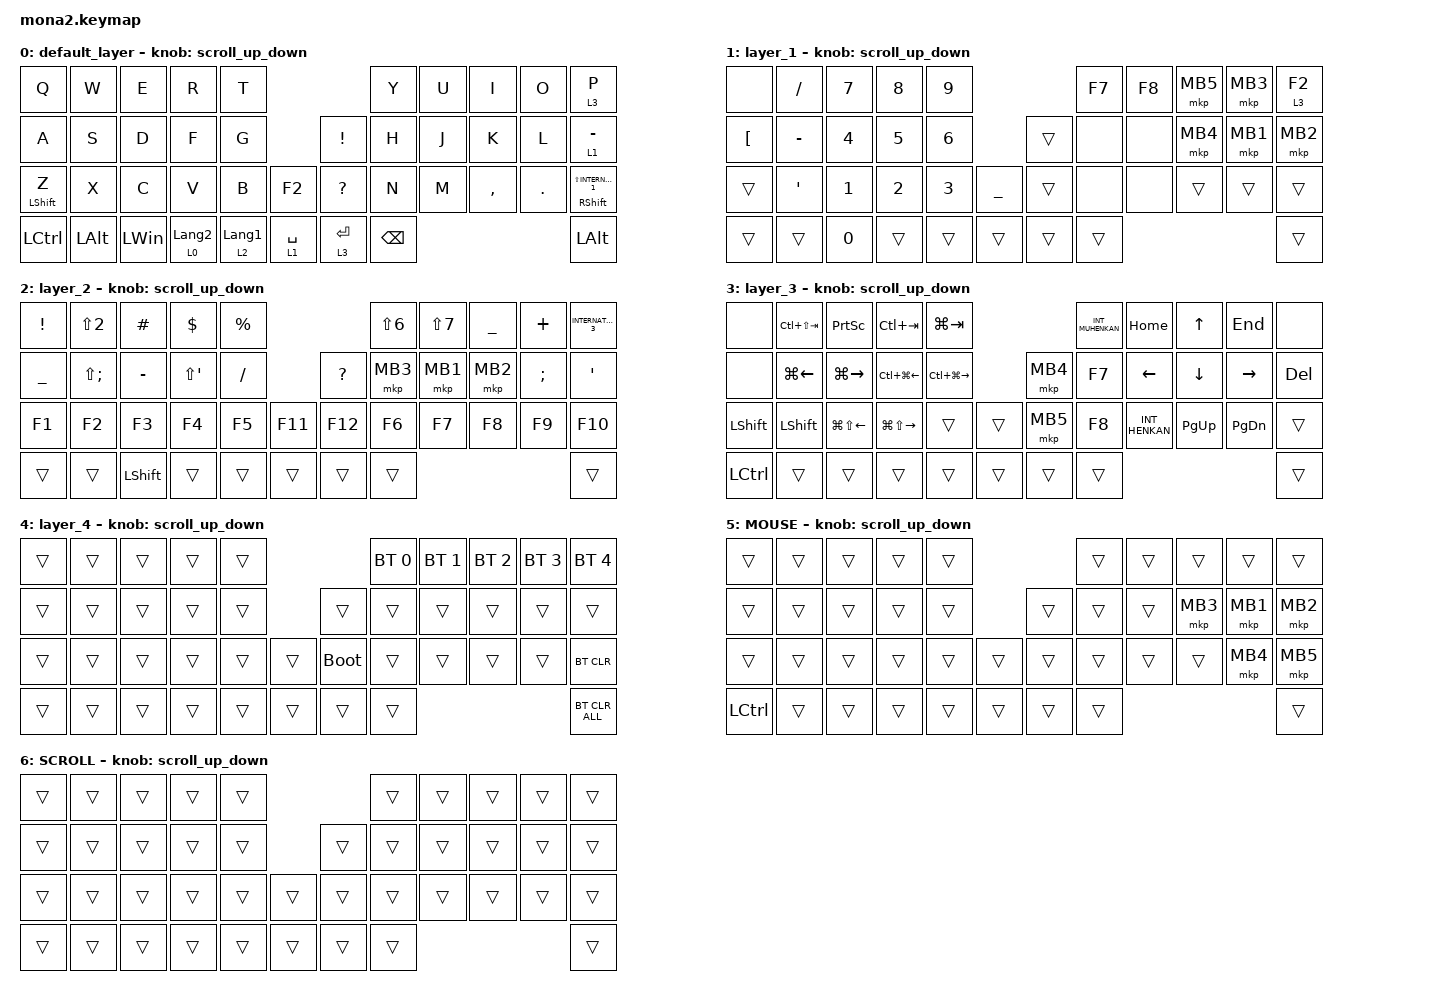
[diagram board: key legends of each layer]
#include <input/processors.dtsi>
#include <dt-bindings/zmk/input_transform.h>
#include <zephyr/dt-bindings/input/input-event-codes.h>
#include <behaviors.dtsi>
#include <dt-bindings/zmk/bt.h>
#include <dt-bindings/zmk/keys.h>
#include <dt-bindings/zmk/pointing.h>

#define ZMK_POINTING_DEFAULT_SCRL_VAL 100
#define MOUSE 5
#define SCROLL 6

&mt {
    flavor = "balanced";
    quick-tap-ms = <0>;
};

&lt {
    quick-tap-ms = <300>;
    flavor = "balanced";
};

/ {
    combos {
        compatible = "zmk,combos";

        layer4_ESC {
            bindings = <&lt 4 ESC>;
            key-positions = <37 40>;
        };

        tab {
            bindings = <&kp TAB>;
            key-positions = <11 12>;
        };

        left_parenthesis {
            bindings = <&kp LS(NUMBER_8)>;
            key-positions = <12 13>;
        };

        right_parenthesis {
            bindings = <&kp LS(NUMBER_9)>;
            key-positions = <17 18>;
        };

        left_bracket {
            bindings = <&kp RIGHT_BRACKET>;
            key-positions = <23 24>;
        };

        right_bracket {
            bindings = <&kp BACKSLASH>;
            key-positions = <29 30>;
        };
    };

    macros {
        to_layer_0: to_layer_0 {
            compatible = "zmk,behavior-macro-one-param";
            #binding-cells = <1>;
            bindings = <&to 0 &macro_param_1to1 &kp MACRO_PLACEHOLDER>;
            label = "TO_LAYER_0";
        };
    };

    behaviors {
        lt_to_layer_0: lt_to_layer_0 {
            compatible = "zmk,behavior-hold-tap";
            label = "LAYER_TAP_TO_0";
            bindings = <&mo>, <&to_layer_0>;

            #binding-cells = <2>;
            tapping-term-ms = <200>;
        };

        scroll_up_down: mouse_wheel_up_down {
            compatible = "zmk,behavior-sensor-rotate";
            #sensor-binding-cells = <0>;
            bindings = <&msc SCRL_DOWN>, <&msc SCRL_UP>;

            tap-ms = <20>;
        };

        scroll_right_left: mouse_wheel_right_left {
            compatible = "zmk,behavior-sensor-rotate";
            #sensor-binding-cells = <0>;
            bindings = <&msc SCRL_LEFT>, <&msc SCRL_RIGHT>;

            tap-ms = <20>;
        };
    };

    keymap {
        compatible = "zmk,keymap";

        default_layer {
            bindings = <
&kp Q             &kp W         &kp E         &kp R                        &kp T                                                        &kp Y          &kp U  &kp I      &kp O    &lt 3 P
&kp A             &kp S         &kp D         &kp F                        &kp G                                       &kp EXCLAMATION  &kp H          &kp J  &kp K      &kp L    &lt 1 MINUS
&mt LEFT_SHIFT Z  &kp X         &kp C         &kp V                        &kp B                        &kp F2         &kp QUESTION     &kp N          &kp M  &kp COMMA  &kp DOT  &mt RIGHT_SHIFT LS(INTERNATIONAL_1)
&kp LCTRL         &kp LEFT_ALT  &kp LEFT_WIN  &lt_to_layer_0 0 LANGUAGE_2  &lt_to_layer_0 2 LANGUAGE_1  &lt 1 SPACE    &lt 3 ENTER      &kp BACKSPACE                             &kp LEFT_ALT
            >;

            sensor-bindings = <&scroll_up_down>;
        };

        layer_1 {
            bindings = <
&none             &kp SLASH  &kp NUMBER_7  &kp NUMBER_8  &kp NUMBER_9                            &kp F7  &kp F8  &mkp MB5  &mkp MB3  &lt 3 F2
&kp LEFT_BRACKET  &kp MINUS  &kp NUMBER_4  &kp NUMBER_5  &kp NUMBER_6                    &trans  &none   &none   &mkp MB4  &mkp MB1  &mkp MB2
&trans            &kp SQT    &kp NUMBER_1  &kp NUMBER_2  &kp NUMBER_3  &kp UNDERSCORE    &trans  &none   &none   &trans    &trans    &trans
&trans            &trans     &kp NUMBER_0  &trans        &trans        &trans            &trans  &trans                              &trans
            >;

            sensor-bindings = <&scroll_up_down>;
        };

        layer_2 {
            bindings = <
&kp EXCLAMATION  &kp LS(N2)         &kp POUND       &kp DOLLAR   &kp PERCENT                        &kp LS(N6)  &kp LS(N7)  &kp UNDERSCORE  &kp PLUS       &kp INTERNATIONAL_3
&kp UNDERSCORE   &kp LS(SEMICOLON)  &kp MINUS       &kp LS(SQT)  &kp SLASH               &kp QMARK  &mkp MB3    &mkp MB1    &mkp MB2        &kp SEMICOLON  &kp SQT
&kp F1           &kp F2             &kp F3          &kp F4       &kp F5       &kp F11    &kp F12    &kp F6      &kp F7      &kp F8          &kp F9         &kp F10
&trans           &trans             &kp LEFT_SHIFT  &trans       &trans       &trans     &trans     &trans                                                 &trans
            >;

            sensor-bindings = <&scroll_up_down>;
        };

        layer_3 {
            bindings = <
&none           &kp LC(LS(TAB))     &kp PRINTSCREEN         &kp LC(TAB)              &kp LG(TAB)                                  &kp INT_MUHENKAN  &kp HOME        &kp UP_ARROW    &kp END          &none
&none           &kp LG(LEFT_ARROW)  &kp LG(RIGHT_ARROW)     &kp LC(LG(LEFT_ARROW))   &kp LC(LG(RIGHT_ARROW))            &mkp MB4  &kp F7            &kp LEFT_ARROW  &kp DOWN_ARROW  &kp RIGHT_ARROW  &kp DEL
&kp LEFT_SHIFT  &kp LEFT_SHIFT      &kp LG(LS(LEFT_ARROW))  &kp LG(LS(RIGHT_ARROW))  &trans                   &trans    &mkp MB5  &kp F8            &kp INT_HENKAN  &kp PAGE_UP     &kp PAGE_DOWN    &trans
&kp LCTRL       &trans              &trans                  &trans                   &trans                   &trans    &trans    &trans                                                             &trans
            >;

            sensor-bindings = <&scroll_up_down>;
        };

        layer_4 {
            bindings = <
&trans  &trans  &trans  &trans  &trans                         &bt BT_SEL 0  &bt BT_SEL 1  &bt BT_SEL 2  &bt BT_SEL 3  &bt BT_SEL 4
&trans  &trans  &trans  &trans  &trans            &trans       &trans        &trans        &trans        &trans        &trans
&trans  &trans  &trans  &trans  &trans  &trans    &bootloader  &trans        &trans        &trans        &trans        &bt BT_CLR
&trans  &trans  &trans  &trans  &trans  &trans    &trans       &trans                                                  &bt BT_CLR_ALL
            >;

            sensor-bindings = <&scroll_up_down>;
        };

        MOUSE {
            bindings = <
&trans     &trans  &trans  &trans  &trans                    &trans  &trans  &trans    &trans    &trans
&trans     &trans  &trans  &trans  &trans            &trans  &trans  &trans  &mkp MB3  &mkp MB1  &mkp MB2
&trans     &trans  &trans  &trans  &trans  &trans    &trans  &trans  &trans  &trans    &mkp MB4  &mkp MB5
&kp LCTRL  &trans  &trans  &trans  &trans  &trans    &trans  &trans                              &trans
            >;

            sensor-bindings = <&scroll_up_down>;
        };

        SCROLL {
            bindings = <
&trans  &trans  &trans  &trans  &trans                    &trans  &trans  &trans  &trans  &trans
&trans  &trans  &trans  &trans  &trans            &trans  &trans  &trans  &trans  &trans  &trans
&trans  &trans  &trans  &trans  &trans  &trans    &trans  &trans  &trans  &trans  &trans  &trans
&trans  &trans  &trans  &trans  &trans  &trans    &trans  &trans                          &trans
            >;

            sensor-bindings = <&scroll_up_down>;
        };
    };
};
